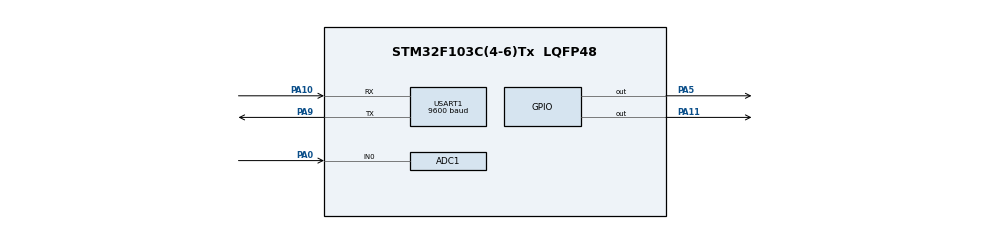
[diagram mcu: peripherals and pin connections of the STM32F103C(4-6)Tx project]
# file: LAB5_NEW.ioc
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ADC1.Channel-0\#ChannelRegularConversion=ADC_CHANNEL_0
ADC1.ContinuousConvMode=ENABLE
ADC1.NbrOfConversionFlag=1
ADC1.Rank-0\#ChannelRegularConversion=1
ADC1.SamplingTime-0\#ChannelRegularConversion=ADC_SAMPLETIME_1CYCLE_5
ADC1.master=1
Mcu.Family=STM32F1
Mcu.Name=STM32F103C(4-6)Tx
Mcu.Package=LQFP48
NVIC.PriorityGroup=NVIC_PRIORITYGROUP_4
NVIC.TIM2_IRQn=true\:0\:0\:false\:false\:true\:true\:true\:true
NVIC.USART1_IRQn=true\:0\:0\:false\:false\:true\:true\:true\:true
PA0-WKUP.Signal=ADCx_IN0
PA10.Mode=Asynchronous
PA10.Signal=USART1_RX
PA11.Signal=GPIO_Output
PA5.Signal=GPIO_Output
PA9.Mode=Asynchronous
PA9.Signal=USART1_TX
ProjectManager.HeapSize=0x200
ProjectManager.StackSize=0x400
ProjectManager.TargetToolchain=STM32CubeIDE
RCC.APB1Freq_Value=8000000
RCC.APB2Freq_Value=8000000
SH.ADCx_IN0.0=ADC1_IN0,IN0
TIM2.Period=9
TIM2.Prescaler=7999
USART1.BaudRate=9600
USART1.VirtualMode=VM_ASYNC
VP_SYS_VS_ND.Mode=No_Debug
VP_TIM2_VS_ClockSourceINT.Mode=Internal
board=custom

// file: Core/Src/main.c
/* USER CODE BEGIN Header */
/**
  ******************************************************************************
  * @file           : main.c
  * @brief          : Main program body
  ******************************************************************************
  * @attention
  *
  * Copyright (c) 2024 STMicroelectronics.
  * All rights reserved.
  *
  * This software is licensed under terms that can be found in the LICENSE file
  * in the root directory of this software component.
  * If no LICENSE file comes with this software, it is provided AS-IS.
  *
  ******************************************************************************
  */
/* USER CODE END Header */
#include "main.h"

/* USER CODE BEGIN Includes */
#include "string.h"
#include "stdio.h"
#include "timer.h"
/* USER CODE END Includes */

ADC_HandleTypeDef hadc1;

TIM_HandleTypeDef htim2;

UART_HandleTypeDef huart1;

void SystemClock_Config(void);
static void MX_GPIO_Init(void);
static void MX_ADC1_Init(void);
static void MX_TIM2_Init(void);
static void MX_USART1_UART_Init(void);

/* USER CODE BEGIN 0 */
void HAL_TIM_PeriodElapsedCallback(TIM_HandleTypeDef *htim) {
	timerRun();
}
//char *str = "hello world";
char str[50];
uint32_t ADC_value;
#define MAX_BUFFER_SIZE 100
uint8_t temp = 0;
uint8_t buffer[MAX_BUFFER_SIZE];
uint8_t index_buffer = 0;
uint8_t buffer_flag = 0;
uint8_t OK_flag = 1;
uint8_t RST_flag = 0;
uint8_t toggle_flag = 0;
typedef enum {
	IDLE, RECEIVING, COMMAND_RECEIVED
} command_State;

typedef enum {
	WAITING_OK, RESEND, NOTHING
} uart_State;

uart_State uartState = NOTHING;
command_State commandState = IDLE;

int handleString(char *data, char *substring) {
	if (strstr(data, substring) != NULL)
		return 1;
	return -1;
}
void buffer_clear() {
	for (int i = 0; i < index_buffer; i++) {
		buffer[i] = '\0';
	}
	index_buffer = 0;
}
void init_buffer() {
	for (int i = 0; i < MAX_BUFFER_SIZE; i++) {
		buffer[i] = '\0';
	}
}
void command_parser_fsm() {
	switch (commandState) {
	case IDLE:
		if (temp == '!') {
			index_buffer = 0;
			buffer[index_buffer++] = temp;
			commandState = RECEIVING;
		}
		break;
	case RECEIVING:
		if (temp == '#') {
			buffer[index_buffer++] = temp;
			buffer[index_buffer] = '\0';
			commandState = COMMAND_RECEIVED;
		} else {
			buffer[index_buffer++] = temp;
			if (index_buffer >= MAX_BUFFER_SIZE) {
				index_buffer = 0;
				commandState = IDLE;
			}
		}
		break;
	case COMMAND_RECEIVED:
		if (handleString((char*) buffer, "!RST#") == 1) {
			if (OK_flag == 1) {
				ADC_value = HAL_ADC_GetValue(&hadc1);
				HAL_UART_Transmit(&huart1, (void*) str,
						sprintf(str, "!ADC=%lu#\r\n", ADC_value), 100);
				OK_flag = 0;
				setTimer1(3000);
				uartState = WAITING_OK;
			}
		} else if (handleString((char*) buffer, "!OK#") == 1) {
			OK_flag = 1;
			index_buffer = 0;
			uartState = NOTHING;
			commandState = IDLE;
			break;
		}
		index_buffer = 0;
		commandState = IDLE;
		break;
	}
}
void uart_communication_fsm() {
	switch (uartState) {
	case NOTHING:
		toggle_flag = 1;
		break;
	case WAITING_OK:
		if (timer1_flag) {
			uartState = RESEND;
			setTimer1(3000);
		}
		break;
	case RESEND:
		HAL_UART_Transmit(&huart1, (void*) str,
				sprintf(str, "!ADC=%lu#\r\n", ADC_value), 100);
		uartState = WAITING_OK;
		break;
	}
}
void HAL_UART_RxCpltCallback(UART_HandleTypeDef *huart) {
	if (huart->Instance == USART1) {
		buffer_flag = 1;
		HAL_UART_Receive_IT(&huart1, &temp, 1);
	}
}
/* USER CODE END 0 */

int main(void)
{

  /* MCU Configuration--------------------------------------------------------*/

  /* Reset of all peripherals, Initializes the Flash interface and the Systick. */
  HAL_Init();

  /* Configure the system clock */
  SystemClock_Config();

  /* Initialize all configured peripherals */
  MX_GPIO_Init();
  MX_ADC1_Init();
  MX_TIM2_Init();
  MX_USART1_UART_Init();
  /* USER CODE BEGIN 2 */
	HAL_ADC_Start(&hadc1);
	HAL_TIM_Base_Start_IT(&htim2);
	HAL_UART_Receive_IT(&huart1, &temp, 1);
	init_buffer();
  /* USER CODE END 2 */

  /* Infinite loop */
  while (1)
  {

    /* USER CODE BEGIN 3 */
		static uint32_t time;
		if (buffer_flag == 1) {
			command_parser_fsm();
			buffer_flag = 0;
		}
		uart_communication_fsm();
		if (HAL_GetTick() - time >= 500) {
			if (toggle_flag) {
				HAL_GPIO_TogglePin(GPIOA, GPIO_PIN_11);
				toggle_flag = 0;
			}
			HAL_GPIO_TogglePin(GPIOA, GPIO_PIN_5);
			time = HAL_GetTick();
		}
  }
  /* USER CODE END 3 */
}

void SystemClock_Config(void)
{
  RCC_OscInitTypeDef RCC_OscInitStruct = {0};
  RCC_ClkInitTypeDef RCC_ClkInitStruct = {0};
  RCC_PeriphCLKInitTypeDef PeriphClkInit = {0};

  /** Initializes the RCC Oscillators according to the specified parameters
  * in the RCC_OscInitTypeDef structure.
  */
  RCC_OscInitStruct.OscillatorType = RCC_OSCILLATORTYPE_HSI;
  RCC_OscInitStruct.HSIState = RCC_HSI_ON;
  RCC_OscInitStruct.HSICalibrationValue = RCC_HSICALIBRATION_DEFAULT;
  RCC_OscInitStruct.PLL.PLLState = RCC_PLL_NONE;
  if (HAL_RCC_OscConfig(&RCC_OscInitStruct) != HAL_OK)
  {
    Error_Handler();
  }

  /** Initializes the CPU, AHB and APB buses clocks
  */
  RCC_ClkInitStruct.ClockType = RCC_CLOCKTYPE_HCLK|RCC_CLOCKTYPE_SYSCLK
                              |RCC_CLOCKTYPE_PCLK1|RCC_CLOCKTYPE_PCLK2;
  RCC_ClkInitStruct.SYSCLKSource = RCC_SYSCLKSOURCE_HSI;
  RCC_ClkInitStruct.AHBCLKDivider = RCC_SYSCLK_DIV1;
  RCC_ClkInitStruct.APB1CLKDivider = RCC_HCLK_DIV1;
  RCC_ClkInitStruct.APB2CLKDivider = RCC_HCLK_DIV1;

  if (HAL_RCC_ClockConfig(&RCC_ClkInitStruct, FLASH_LATENCY_0) != HAL_OK)
  {
    Error_Handler();
  }
  PeriphClkInit.PeriphClockSelection = RCC_PERIPHCLK_ADC;
  PeriphClkInit.AdcClockSelection = RCC_ADCPCLK2_DIV2;
  if (HAL_RCCEx_PeriphCLKConfig(&PeriphClkInit) != HAL_OK)
  {
    Error_Handler();
  }
}

static void MX_ADC1_Init(void)
{

  ADC_ChannelConfTypeDef sConfig = {0};

  /** Common config
  */
  hadc1.Instance = ADC1;
  hadc1.Init.ScanConvMode = ADC_SCAN_DISABLE;
  hadc1.Init.ContinuousConvMode = ENABLE;
  hadc1.Init.DiscontinuousConvMode = DISABLE;
  hadc1.Init.ExternalTrigConv = ADC_SOFTWARE_START;
  hadc1.Init.DataAlign = ADC_DATAALIGN_RIGHT;
  hadc1.Init.NbrOfConversion = 1;
  if (HAL_ADC_Init(&hadc1) != HAL_OK)
  {
    Error_Handler();
  }

  /** Configure Regular Channel
  */
  sConfig.Channel = ADC_CHANNEL_0;
  sConfig.Rank = ADC_REGULAR_RANK_1;
  sConfig.SamplingTime = ADC_SAMPLETIME_1CYCLE_5;
  if (HAL_ADC_ConfigChannel(&hadc1, &sConfig) != HAL_OK)
  {
    Error_Handler();
  }

}

static void MX_TIM2_Init(void)
{

  TIM_ClockConfigTypeDef sClockSourceConfig = {0};
  TIM_MasterConfigTypeDef sMasterConfig = {0};

  htim2.Instance = TIM2;
  htim2.Init.Prescaler = 7999;
  htim2.Init.CounterMode = TIM_COUNTERMODE_UP;
  htim2.Init.Period = 9;
  htim2.Init.ClockDivision = TIM_CLOCKDIVISION_DIV1;
  htim2.Init.AutoReloadPreload = TIM_AUTORELOAD_PRELOAD_DISABLE;
  if (HAL_TIM_Base_Init(&htim2) != HAL_OK)
  {
    Error_Handler();
  }
  sClockSourceConfig.ClockSource = TIM_CLOCKSOURCE_INTERNAL;
  if (HAL_TIM_ConfigClockSource(&htim2, &sClockSourceConfig) != HAL_OK)
  {
    Error_Handler();
  }
  sMasterConfig.MasterOutputTrigger = TIM_TRGO_RESET;
  sMasterConfig.MasterSlaveMode = TIM_MASTERSLAVEMODE_DISABLE;
  if (HAL_TIMEx_MasterConfigSynchronization(&htim2, &sMasterConfig) != HAL_OK)
  {
    Error_Handler();
  }

}

static void MX_USART1_UART_Init(void)
{

  huart1.Instance = USART1;
  huart1.Init.BaudRate = 9600;
  huart1.Init.WordLength = UART_WORDLENGTH_8B;
  huart1.Init.StopBits = UART_STOPBITS_1;
  huart1.Init.Parity = UART_PARITY_NONE;
  huart1.Init.Mode = UART_MODE_TX_RX;
  huart1.Init.HwFlowCtl = UART_HWCONTROL_NONE;
  huart1.Init.OverSampling = UART_OVERSAMPLING_16;
  if (HAL_UART_Init(&huart1) != HAL_OK)
  {
    Error_Handler();
  }

}

static void MX_GPIO_Init(void)
{
  GPIO_InitTypeDef GPIO_InitStruct = {0};

  /* GPIO Ports Clock Enable */
  __HAL_RCC_GPIOA_CLK_ENABLE();

  /*Configure GPIO pin Output Level */
  HAL_GPIO_WritePin(GPIOA, GPIO_PIN_5|GPIO_PIN_11, GPIO_PIN_RESET);

  /*Configure GPIO pins : PA5 PA11 */
  GPIO_InitStruct.Pin = GPIO_PIN_5|GPIO_PIN_11;
  GPIO_InitStruct.Mode = GPIO_MODE_OUTPUT_PP;
  GPIO_InitStruct.Pull = GPIO_NOPULL;
  GPIO_InitStruct.Speed = GPIO_SPEED_FREQ_LOW;
  HAL_GPIO_Init(GPIOA, &GPIO_InitStruct);

}

void Error_Handler(void)
{
  __disable_irq();
  while (1)
  {
  }
}
